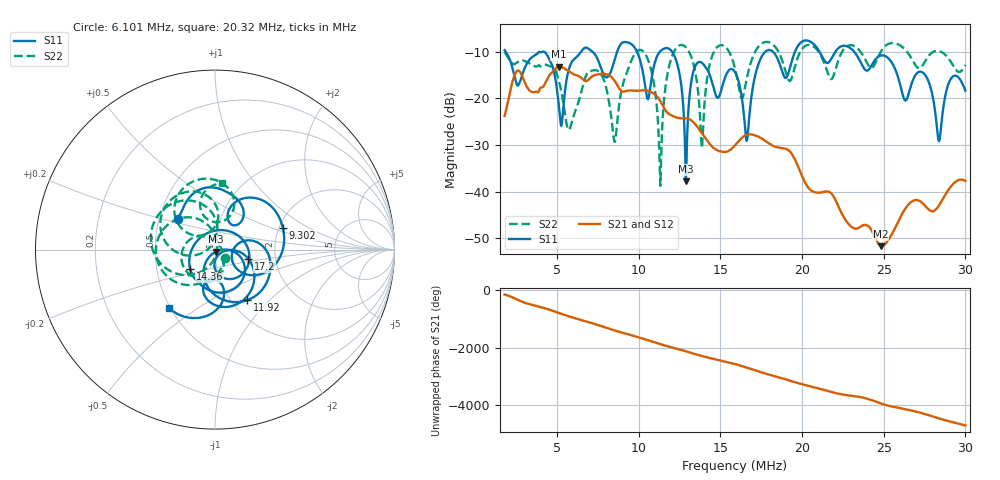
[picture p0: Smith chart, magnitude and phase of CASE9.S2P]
!Agilent Technologies,E5061B,MY49101568,A.02.00
!Date: Wed Mar 01 14:59:27 2023
!Data & Calibration Information:
!Freq	S11:SOLT2(OFF)	S21:SOLT2(OFF)	S12:SOLT2(OFF)	S22:SOLT2(OFF)
# Hz S dB R 50
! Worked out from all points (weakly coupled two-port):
!   1155 points, 1.8 MHz to 30 MHz, reference 50 ohm
!   highest |S21| = -13.22 dB at 5.123 MHz (marker M1); lowest = -51.7 dB at 24.82 MHz (marker M2)
!   lowest |S11| = -37.8 dB at 12.89 MHz (marker M3), VSWR 1.03, Z = 50.4 - j1.22 ohm
!   |S11| at or under -10 dB: 1.858 MHz to 6.49 MHz (4.632 MHz wide, 111 % of centre); 12.04 MHz to 17.77 MHz (5.73 MHz wide, 38.4 % of centre); 23.18 MHz to end of sweep (the widest 3 of 7)
!   |S22| runs from -38.8 to -7.9 dB; largest |S21 - S12| = 0.0029
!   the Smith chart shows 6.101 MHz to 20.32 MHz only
!   S11 on the Smith chart (normalised r, x): 6.101 MHz: 0.63, +0.23; 9.302 MHz: 2.10, +0.61; 11.92 MHz: 1.18, -0.75; 14.36 MHz: 0.74, -0.17; 17.2 MHz: 1.45, -0.16; 20.32 MHz: 0.49, -0.39
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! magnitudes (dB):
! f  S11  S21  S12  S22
! 1.8 MHz  -9.7  -23.8  -23.8  -10.1
! 5.123 MHz  -21.8  -13.2  -13.2  -16.3
! 6.101 MHz  -11.5  -15.0  -14.9  -23.0
! 6.516 MHz  -9.9  -15.7  -15.6  -18.3
! 7.665 MHz  -13.2  -14.8  -14.7  -14.7
! 8.545 MHz  -11.6  -16.3  -16.3  -29.4
! 9.302 MHz  -8.0  -18.4  -18.3  -14.3
! 10.48 MHz  -19.2  -18.3  -18.4  -11.0
! 11.21 MHz  -10.5  -20.0  -20.0  -26.4
! 11.92 MHz  -9.5  -23.5  -23.6  -12.5
! 12.89 MHz  -37.8  -24.3  -24.4  -9.1
! 13.87 MHz  -12.4  -27.5  -27.5  -30.7
! 14.36 MHz  -15.1  -29.8  -29.9  -12.6
! 15.9 MHz  -14.4  -30.1  -30.2  -13.7
! 16.61 MHz  -29.1  -27.8  -27.9  -16.0
! 17.2 MHz  -14.3  -28.1  -28.1  -9.7
! 20.32 MHz  -7.6  -38.9  -38.8  -8.6
! 20.62 MHz  -8.1  -39.9  -39.8  -8.7
! 24.82 MHz  -10.8  -51.7  -51.5  -10.1
! 25.31 MHz  -11.5  -50.2  -50.2  -8.3
! 28.39 MHz  -29.2  -43.0  -42.9  -9.9
! 30 MHz  -18.4  -37.7  -37.7  -12.9
